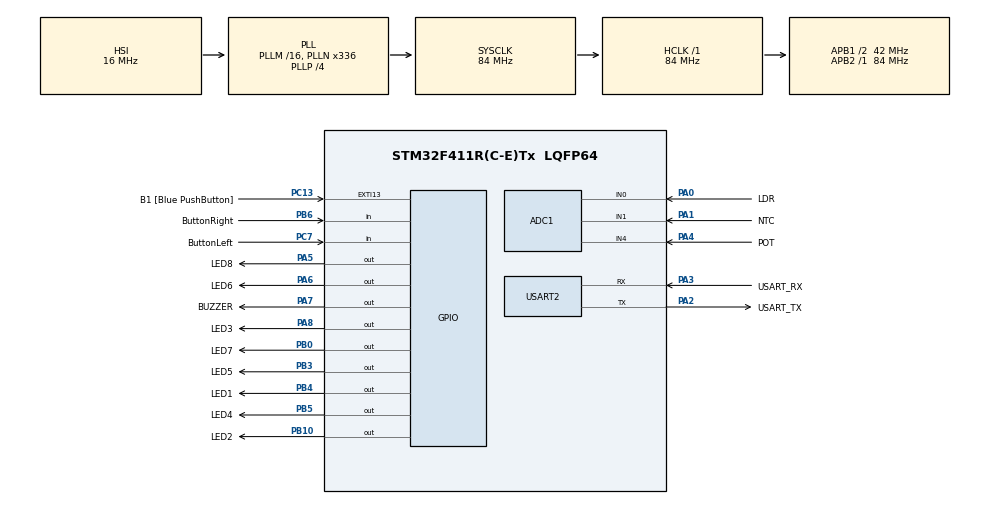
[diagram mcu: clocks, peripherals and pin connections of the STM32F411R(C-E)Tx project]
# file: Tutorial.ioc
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ADC1.Channel-0\#ChannelRegularConversion=ADC_CHANNEL_4
ADC1.NbrOfConversionFlag=1
ADC1.Rank-0\#ChannelRegularConversion=1
ADC1.SamplingTime-0\#ChannelRegularConversion=ADC_SAMPLETIME_3CYCLES
ADC1.master=1
Mcu.Family=STM32F4
Mcu.Name=STM32F411R(C-E)Tx
Mcu.Package=LQFP64
NVIC.PriorityGroup=NVIC_PRIORITYGROUP_0
PA0-WKUP.GPIO_Label=LDR
PA0-WKUP.Signal=SharedAnalog_PA0
PA1.GPIO_Label=NTC
PA1.Signal=SharedAnalog_PA1
PA13.GPIO_Label=TMS
PA13.Mode=Serial_Wire
PA13.Signal=SYS_JTMS-SWDIO
PA14.GPIO_Label=TCK
PA14.Mode=Serial_Wire
PA14.Signal=SYS_JTCK-SWCLK
PA2.GPIO_Label=USART_TX
PA2.Mode=Asynchronous
PA2.Signal=USART2_TX
PA3.GPIO_Label=USART_RX
PA3.Mode=Asynchronous
PA3.Signal=USART2_RX
PA4.GPIO_Label=POT
PA4.Signal=SharedAnalog_PA4
PA5.GPIO_Label=LED8
PA5.Signal=GPIO_Output
PA6.GPIO_Label=LED6
PA6.Signal=GPIO_Output
PA7.GPIO_Label=BUZZER
PA7.Signal=GPIO_Output
PA8.GPIO_Label=LED3
PA8.Signal=GPIO_Output
PB0.GPIO_Label=LED7
PB0.Signal=GPIO_Output
PB10.GPIO_Label=LED2
PB10.Signal=GPIO_Output
PB3.GPIO_Label=LED5
PB3.Signal=GPIO_Output
PB4.GPIO_Label=LED1
PB4.Signal=GPIO_Output
PB5.GPIO_Label=LED4
PB5.Signal=GPIO_Output
PB6.GPIO_Label=ButtonRight
PB6.GPIO_PuPd=GPIO_PULLUP
PB6.Signal=GPIO_Input
PC13-ANTI_TAMP.GPIO_Label=B1 [Blue PushButton]
PC13-ANTI_TAMP.GPIO_ModeDefaultEXTI=GPIO_MODE_IT_FALLING
PC13-ANTI_TAMP.Signal=GPXTI13
PC14-OSC32_IN.Mode=LSE-External-Oscillator
PC14-OSC32_IN.Signal=RCC_OSC32_IN
PC15-OSC32_OUT.Mode=LSE-External-Oscillator
PC15-OSC32_OUT.Signal=RCC_OSC32_OUT
PC7.GPIO_Label=ButtonLeft
PC7.GPIO_PuPd=GPIO_PULLUP
PC7.Signal=GPIO_Input
PH0\ -\ OSC_IN.Mode=HSE-External-Clock-Source
PH0\ -\ OSC_IN.Signal=RCC_OSC_IN
PH1\ -\ OSC_OUT.Mode=HSE-External-Clock-Source
PH1\ -\ OSC_OUT.Signal=RCC_OSC_OUT
ProjectManager.HeapSize=0x200
ProjectManager.StackSize=0x400
ProjectManager.TargetToolchain=CMake
RCC.48MHZClocksFreq_Value=84000000
RCC.AHBFreq_Value=84000000
RCC.APB1CLKDivider=RCC_HCLK_DIV2
RCC.APB1Freq_Value=42000000
RCC.APB1TimFreq_Value=84000000
RCC.APB2Freq_Value=84000000
RCC.APB2TimFreq_Value=84000000
RCC.CortexFreq_Value=84000000
RCC.FLatency-AdvancedSettings=FLASH_LATENCY_2
RCC.HCLKFreq_Value=84000000
RCC.HSE_VALUE=8000000
RCC.HSI_VALUE=16000000
RCC.PLLN=336
RCC.PLLP=RCC_PLLP_DIV4
RCC.SYSCLKFreq_VALUE=84000000
RCC.SYSCLKSource=RCC_SYSCLKSOURCE_PLLCLK
RCC.VCOOutputFreq_Value=336000000
SH.SharedAnalog_PA0.0=GPIO_Analog
SH.SharedAnalog_PA0.1=ADC1_IN0,IN0
SH.SharedAnalog_PA1.0=GPIO_Analog
SH.SharedAnalog_PA1.1=ADC1_IN1,IN1
SH.SharedAnalog_PA4.0=GPIO_Analog
SH.SharedAnalog_PA4.1=ADC1_IN4,IN4
USART2.VirtualMode=VM_ASYNC
board=NUCLEO-F411RE

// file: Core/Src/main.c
/* USER CODE BEGIN Header */
/**
  ******************************************************************************
  * @file           : main.c
  * @brief          : Main program body
  ******************************************************************************
  * @attention
  *
  * Copyright (c) 2026 STMicroelectronics.
  * All rights reserved.
  *
  * This software is licensed under terms that can be found in the LICENSE file
  * in the root directory of this software component.
  * If no LICENSE file comes with this software, it is provided AS-IS.
  *
  ******************************************************************************
  */
/* USER CODE END Header */
#include "main.h"

ADC_HandleTypeDef hadc1;

UART_HandleTypeDef huart2;

void SystemClock_Config(void);
static void MX_GPIO_Init(void);
static void MX_USART2_UART_Init(void);
static void MX_ADC1_Init(void);

/* USER CODE BEGIN 0 */
int _write(int file, char *ptr, int len){
  int DataIdx;
  for (DataIdx = 0; DataIdx < len; DataIdx++){
  //ITM_SendChar( *ptr++ );
  HAL_UART_Transmit(&huart2, (uint8_t*)ptr++,1,1000);
  }
  return len;
  }/* USER CODE BEGIN Header */
/**
  ******************************************************************************
  * @file           : main.c
  * @brief          : Main program body
  ******************************************************************************
  * @attention
  *
  * Copyright (c) 2026 STMicroelectronics.
  * All rights reserved.
  *
  * This software is licensed under terms that can be found in the LICENSE file
  * in the root directory of this software component.
  * If no LICENSE file comes with this software, it is provided AS-IS.
  *
  ******************************************************************************
  */
/* USER CODE END Header */
/* Includes ------------------------------------------------------------------*/
#include "main.h"
#include "stdio.h"
#include "math.h"
#include "stm32f4xx_hal.h"

#define R25   10000.0f
#define T25   298.15f
#define BETA  3900.0f
/* Private includes ----------------------------------------------------------*/
/* USER CODE BEGIN Includes */

/* USER CODE END Includes */

/* Private typedef -----------------------------------------------------------*/
/* USER CODE BEGIN PTD */

/* USER CODE END PTD */

/* Private define ------------------------------------------------------------*/
/* USER CODE BEGIN PD */

/* USER CODE END PD */

/* Private macro -------------------------------------------------------------*/
/* USER CODE BEGIN PM */

/* USER CODE END PM */

/* Private variables ---------------------------------------------------------*/

/* USER CODE BEGIN PV */

/* USER CODE END PV */

/* Private function prototypes -----------------------------------------------*/
void SystemClock_Config(void);
static void MX_GPIO_Init(void);
static void MX_USART2_UART_Init(void);
/* USER CODE BEGIN PFP */

/* USER CODE END PFP */

/* Private user code ---------------------------------------------------------*/
/* USER CODE BEGIN 0 */

  static int contadorLeft = 0;
  static int contadorRight = 0;
  static int pulsado = 0;
  static int pulsadoLeft = 0;
  static int valorAlarma = 8;
  static int valorActual = 0;

  static int led_encendido=0;
  static int sensor = 0;
  static int alarma_activa = 0;
  static int alarma_armada = 1;
  static uint32_t alarma_stop_time = 0;
  /*static int contadorBinario = 0;

  int binarioLED()
  {
    return 0;

  }*/

  int detectar_pulsacionLeft(GPIO_TypeDef* GPIOx, uint16_t GPIO_Pin)
  {
    static int estado_ant = 0;
    GPIO_PinState res_pin = HAL_GPIO_ReadPin(GPIOx,GPIO_Pin);
    int res = (res_pin == GPIO_PIN_RESET) ? 0 : 1;
    //int pulsado = 0;
    if((res == 0) && (estado_ant == 0))
    {
      estado_ant = 1;
      printf("IZQ Soltado Arriba");
      sensor++;
        if(sensor > 1)
        {
          sensor = 0;
        }
        printf("SENSORR %d\n",sensor);
    }
    if((res == 1) && (estado_ant == 1))
    {
      pulsado = 1;
      estado_ant = 0;
      printf("IZQ Pulsado Abajo");
      contadorLeft++;
    }
    if (contadorLeft == 3)
    {
      contadorLeft = 0;
      return 1;
    }else{
    return 0;}
  }

  int valorPOT()
  {
      ADC_ChannelConfTypeDef sConfig = {0};
      sConfig.Channel = ADC_CHANNEL_4;
      sConfig.Rank = 1;
      sConfig.SamplingTime = ADC_SAMPLETIME_3CYCLES;
      HAL_ADC_ConfigChannel(&hadc1, &sConfig);
      // Disparo la conversion
      HAL_ADC_Start(&hadc1);
      // Espero la finalización
      HAL_ADC_PollForConversion(&hadc1, 10000);
      // Leo el valor de la conversión 1023 y 0
      return (HAL_ADC_GetValue(&hadc1)+ 10)*8/4095;
  }

  int valorLDR()
  {
     ADC_ChannelConfTypeDef sConfig = {0};
     sConfig.Channel = ADC_CHANNEL_0;
     sConfig.Rank = 1;
      sConfig.SamplingTime = ADC_SAMPLETIME_3CYCLES;
      HAL_ADC_ConfigChannel(&hadc1, &sConfig);
      // Disparo la conversion
      HAL_ADC_Start(&hadc1);
      // Espero la finalización
      HAL_ADC_PollForConversion(&hadc1, 10000);
      printf("SENSOR LUZ: %d\n",(HAL_ADC_GetValue(&hadc1)-200)*8/2300);//valores LUZ MOVIL: 210-250, LUZ NORMAL CLASE: 770-900 TAPANDO DEDO: 1000-1200 TAPANDO CON MANOS: 1700-2000 BAJO MESA: 3000
      return ((HAL_ADC_GetValue(&hadc1)-200)*8/2300);
  }

  int valorNTC()
  {
    ADC_ChannelConfTypeDef sConfig = {0};
    sConfig.Channel = ADC_CHANNEL_1;
    sConfig.Rank = 1;
    sConfig.SamplingTime = ADC_SAMPLETIME_3CYCLES;
    HAL_ADC_ConfigChannel(&hadc1, &sConfig);

     // Disparo la conversion
      HAL_ADC_Start(&hadc1);
      // Espero la finalización
      HAL_ADC_PollForConversion(&hadc1, 10000);
      printf("SENSOR TERMICO: %d\n",(HAL_ADC_GetValue(&hadc1)-1500)/67);
      return (8-(HAL_ADC_GetValue(&hadc1)-1500)/67);
  }

  void encenderLucesPot(int x)
  {
    if (x >= 1) HAL_GPIO_WritePin(LED1_GPIO_Port, LED1_Pin, GPIO_PIN_SET);
    if (x >= 2) HAL_GPIO_WritePin(LED2_GPIO_Port, LED2_Pin, GPIO_PIN_SET);
    if (x >= 3) HAL_GPIO_WritePin(LED3_GPIO_Port, LED3_Pin, GPIO_PIN_SET);
    if (x >= 4) HAL_GPIO_WritePin(LED4_GPIO_Port, LED4_Pin, GPIO_PIN_SET);
    if (x >= 5) HAL_GPIO_WritePin(LED5_GPIO_Port, LED5_Pin, GPIO_PIN_SET);
    if (x >= 6) HAL_GPIO_WritePin(LED6_GPIO_Port, LED6_Pin, GPIO_PIN_SET);
    if (x >= 7) HAL_GPIO_WritePin(LED7_GPIO_Port, LED7_Pin, GPIO_PIN_SET);
    if (x >= 8) HAL_GPIO_WritePin(LED8_GPIO_Port, LED8_Pin, GPIO_PIN_SET);

    if (x < 1) HAL_GPIO_WritePin(LED1_GPIO_Port, LED1_Pin, GPIO_PIN_RESET);
    if (x < 2) HAL_GPIO_WritePin(LED2_GPIO_Port, LED2_Pin, GPIO_PIN_RESET);
    if (x < 3) HAL_GPIO_WritePin(LED3_GPIO_Port, LED3_Pin, GPIO_PIN_RESET);
    if (x < 4) HAL_GPIO_WritePin(LED4_GPIO_Port, LED4_Pin, GPIO_PIN_RESET);
    if (x < 5) HAL_GPIO_WritePin(LED5_GPIO_Port, LED5_Pin, GPIO_PIN_RESET);
    if (x < 6) HAL_GPIO_WritePin(LED6_GPIO_Port, LED6_Pin, GPIO_PIN_RESET);
    if (x < 7) HAL_GPIO_WritePin(LED7_GPIO_Port, LED7_Pin, GPIO_PIN_RESET);
    if (x < 8) HAL_GPIO_WritePin(LED8_GPIO_Port, LED8_Pin, GPIO_PIN_RESET);
  }

  // Enciende o apaga el LED numero n (1-8) que lo gastamos para nivel potenciometro
  void set_led_n(int n, int state)
  {
    GPIO_PinState ps = state ? GPIO_PIN_SET : GPIO_PIN_RESET;
    switch(n) {
      case 1: HAL_GPIO_WritePin(LED1_GPIO_Port, LED1_Pin, ps); break;
      case 2: HAL_GPIO_WritePin(LED2_GPIO_Port, LED2_Pin, ps); break;
      case 3: HAL_GPIO_WritePin(LED3_GPIO_Port, LED3_Pin, ps); break;
      case 4: HAL_GPIO_WritePin(LED4_GPIO_Port, LED4_Pin, ps); break;
      case 5: HAL_GPIO_WritePin(LED5_GPIO_Port, LED5_Pin, ps); break;
      case 6: HAL_GPIO_WritePin(LED6_GPIO_Port, LED6_Pin, ps); break;
      case 7: HAL_GPIO_WritePin(LED7_GPIO_Port, LED7_Pin, ps); break;
      case 8: HAL_GPIO_WritePin(LED8_GPIO_Port, LED8_Pin, ps); break;
    }
  }

  // Devuelve 1 en el flanco de bajada del boton (pulsacion detectada)
  int detectar_pulsacionRight(GPIO_TypeDef* GPIOx, uint16_t GPIO_Pin)
  {
    static int estado_ant = 1;  // 1 = no pulsado (pull-up)
    GPIO_PinState res_pin = HAL_GPIO_ReadPin(GPIOx, GPIO_Pin);
    int res = (res_pin == GPIO_PIN_RESET) ? 0 : 1;
    if ((res == 0) && (estado_ant == 1)) {  // flanco bajada: boton pulsado
      estado_ant = 0;
      return 1;
    }
    if ((res == 1) && (estado_ant == 0)) {  // flanco subida: boton soltado
      estado_ant = 1;
    }
    return 0;
  }

/* USER CODE END 0 */

int main(void)
{

  /* MCU Configuration--------------------------------------------------------*/

  /* Reset of all peripherals, Initializes the Flash interface and the Systick. */
  HAL_Init();

  /* Configure the system clock */
  SystemClock_Config();

  /* Initialize all configured peripherals */
  MX_GPIO_Init();
  MX_USART2_UART_Init();
  MX_ADC1_Init();

  /* Infinite loop */
  /* USER CODE BEGIN WHILE */
  setvbuf(stdout, NULL, _IONBF, 0);

  HAL_GPIO_WritePin(LED1_GPIO_Port, LED1_Pin, GPIO_PIN_RESET);
  HAL_GPIO_WritePin(LED2_GPIO_Port, LED2_Pin, GPIO_PIN_RESET);
  HAL_GPIO_WritePin(LED3_GPIO_Port, LED3_Pin, GPIO_PIN_RESET);
  HAL_GPIO_WritePin(LED4_GPIO_Port, LED4_Pin, GPIO_PIN_RESET);
  HAL_GPIO_WritePin(LED5_GPIO_Port, LED5_Pin, GPIO_PIN_RESET);
  HAL_GPIO_WritePin(LED6_GPIO_Port, LED6_Pin, GPIO_PIN_RESET);
  HAL_GPIO_WritePin(LED7_GPIO_Port, LED7_Pin, GPIO_PIN_RESET);
  HAL_GPIO_WritePin(LED8_GPIO_Port, LED8_Pin, GPIO_PIN_RESET);

  while (1)
  {
    valorAlarma = valorPOT();
    printf("%d",valorAlarma);
    // Leer sensor seleccionado y mostrar en LEDs
    if (sensor == 0) {
      valorActual = valorNTC();
    } else if (sensor == 1) {
      valorActual = valorLDR();
    } else {
      sensor = 0;
    }
    encenderLucesPot(valorActual);

    // LED del nivel de alarma parpadea a ~10 Hz (toggle cada 50ms)
    if (valorAlarma >= 1 && valorAlarma <= 8) {
      int led_alarma_estado = (HAL_GetTick() / 50) % 2;
      set_led_n(valorAlarma, led_alarma_estado);
    }

    // Rearme automatico tras 10 segundos
    if (!alarma_armada && (HAL_GetTick() - alarma_stop_time > 10000)) {
      alarma_armada = 1;
      printf("alarma rearmada\n");
    }
    // Disparo de alarma si esta armada y se supera el nivel
    if (alarma_armada && valorActual >= valorAlarma) {
      alarma_activa = 1;
    }
    // Control del buzzer segun estado de alarma
    if (alarma_activa) {
      HAL_GPIO_WritePin(BUZZER_GPIO_Port, BUZZER_Pin, GPIO_PIN_SET);
      printf("pitoo\n");
    } else {
      HAL_GPIO_WritePin(BUZZER_GPIO_Port, BUZZER_Pin, GPIO_PIN_RESET);
    }

    HAL_Delay(50);

    // Boton izquierdo: cambia sensor mostrado
    detectar_pulsacionLeft(ButtonLeft_GPIO_Port, ButtonLeft_Pin);

    // Boton derecho: para la alarma (si esta activa)
    if (detectar_pulsacionRight(ButtonRight_GPIO_Port, ButtonRight_Pin) == 1) {
      if (alarma_activa) {
        alarma_activa = 0;
        alarma_armada = 0;
        alarma_stop_time = HAL_GetTick();
        HAL_GPIO_WritePin(BUZZER_GPIO_Port, BUZZER_Pin, GPIO_PIN_RESET);
        printf("alarma parada por boton, rearmando en 10s\n");
      }
    }

    HAL_Delay(50);
    /* USER CODE END WHILE */

  }
}

void SystemClock_Config(void)
{
  RCC_OscInitTypeDef RCC_OscInitStruct = {0};
  RCC_ClkInitTypeDef RCC_ClkInitStruct = {0};

  /** Configure the main internal regulator output voltage
  */
  __HAL_RCC_PWR_CLK_ENABLE();
  __HAL_PWR_VOLTAGESCALING_CONFIG(PWR_REGULATOR_VOLTAGE_SCALE1);

  /** Initializes the RCC Oscillators according to the specified parameters
  * in the RCC_OscInitTypeDef structure.
  */
  RCC_OscInitStruct.OscillatorType = RCC_OSCILLATORTYPE_HSI;
  RCC_OscInitStruct.HSIState = RCC_HSI_ON;
  RCC_OscInitStruct.HSICalibrationValue = RCC_HSICALIBRATION_DEFAULT;
  RCC_OscInitStruct.PLL.PLLState = RCC_PLL_ON;
  RCC_OscInitStruct.PLL.PLLSource = RCC_PLLSOURCE_HSI;
  RCC_OscInitStruct.PLL.PLLM = 16;
  RCC_OscInitStruct.PLL.PLLN = 336;
  RCC_OscInitStruct.PLL.PLLP = RCC_PLLP_DIV4;
  RCC_OscInitStruct.PLL.PLLQ = 4;
  if (HAL_RCC_OscConfig(&RCC_OscInitStruct) != HAL_OK)
  {
    Error_Handler();
  }

  /** Initializes the CPU, AHB and APB buses clocks
  */
  RCC_ClkInitStruct.ClockType = RCC_CLOCKTYPE_HCLK|RCC_CLOCKTYPE_SYSCLK
                              |RCC_CLOCKTYPE_PCLK1|RCC_CLOCKTYPE_PCLK2;
  RCC_ClkInitStruct.SYSCLKSource = RCC_SYSCLKSOURCE_PLLCLK;
  RCC_ClkInitStruct.AHBCLKDivider = RCC_SYSCLK_DIV1;
  RCC_ClkInitStruct.APB1CLKDivider = RCC_HCLK_DIV2;
  RCC_ClkInitStruct.APB2CLKDivider = RCC_HCLK_DIV1;

  if (HAL_RCC_ClockConfig(&RCC_ClkInitStruct, FLASH_LATENCY_2) != HAL_OK)
  {
    Error_Handler();
  }
}

static void MX_ADC1_Init(void)
{

  ADC_ChannelConfTypeDef sConfig = {0};

  /** Configure the global features of the ADC (Clock, Resolution, Data Alignment and number of conversion)
  */
  hadc1.Instance = ADC1;
  hadc1.Init.ClockPrescaler = ADC_CLOCK_SYNC_PCLK_DIV4;
  hadc1.Init.Resolution = ADC_RESOLUTION_12B;
  hadc1.Init.ScanConvMode = DISABLE;
  hadc1.Init.ContinuousConvMode = DISABLE;
  hadc1.Init.DiscontinuousConvMode = DISABLE;
  hadc1.Init.ExternalTrigConvEdge = ADC_EXTERNALTRIGCONVEDGE_NONE;
  hadc1.Init.ExternalTrigConv = ADC_SOFTWARE_START;
  hadc1.Init.DataAlign = ADC_DATAALIGN_RIGHT;
  hadc1.Init.NbrOfConversion = 1;
  hadc1.Init.DMAContinuousRequests = DISABLE;
  hadc1.Init.EOCSelection = ADC_EOC_SINGLE_CONV;
  if (HAL_ADC_Init(&hadc1) != HAL_OK)
  {
    Error_Handler();
  }

  /** Configure for the selected ADC regular channel its corresponding rank in the sequencer and its sample time.
  */
  sConfig.Channel = ADC_CHANNEL_4;
  sConfig.Rank = 1;
  sConfig.SamplingTime = ADC_SAMPLETIME_3CYCLES;
  if (HAL_ADC_ConfigChannel(&hadc1, &sConfig) != HAL_OK)
  {
    Error_Handler();
  }

}

static void MX_USART2_UART_Init(void)
{

  huart2.Instance = USART2;
  huart2.Init.BaudRate = 115200;
  huart2.Init.WordLength = UART_WORDLENGTH_8B;
  huart2.Init.StopBits = UART_STOPBITS_1;
  huart2.Init.Parity = UART_PARITY_NONE;
  huart2.Init.Mode = UART_MODE_TX_RX;
  huart2.Init.HwFlowCtl = UART_HWCONTROL_NONE;
  huart2.Init.OverSampling = UART_OVERSAMPLING_16;
  if (HAL_UART_Init(&huart2) != HAL_OK)
  {
    Error_Handler();
  }

}

static void MX_GPIO_Init(void)
{
  GPIO_InitTypeDef GPIO_InitStruct = {0};

  /* GPIO Ports Clock Enable */
  __HAL_RCC_GPIOC_CLK_ENABLE();
  __HAL_RCC_GPIOH_CLK_ENABLE();
  __HAL_RCC_GPIOA_CLK_ENABLE();
  __HAL_RCC_GPIOB_CLK_ENABLE();

  /*Configure GPIO pin Output Level */
  HAL_GPIO_WritePin(GPIOA, LED8_Pin|LED6_Pin|BUZZER_Pin|LED3_Pin, GPIO_PIN_RESET);

  /*Configure GPIO pin Output Level */
  HAL_GPIO_WritePin(GPIOB, LED7_Pin|LED2_Pin|LED5_Pin|LED1_Pin
                          |LED4_Pin, GPIO_PIN_RESET);

  /*Configure GPIO pin : B1_Pin */
  GPIO_InitStruct.Pin = B1_Pin;
  GPIO_InitStruct.Mode = GPIO_MODE_IT_FALLING;
  GPIO_InitStruct.Pull = GPIO_NOPULL;
  HAL_GPIO_Init(B1_GPIO_Port, &GPIO_InitStruct);

  /*Configure GPIO pins : LED8_Pin LED6_Pin BUZZER_Pin LED3_Pin */
  GPIO_InitStruct.Pin = LED8_Pin|LED6_Pin|BUZZER_Pin|LED3_Pin;
  GPIO_InitStruct.Mode = GPIO_MODE_OUTPUT_PP;
  GPIO_InitStruct.Pull = GPIO_NOPULL;
  GPIO_InitStruct.Speed = GPIO_SPEED_FREQ_LOW;
  HAL_GPIO_Init(GPIOA, &GPIO_InitStruct);

  /*Configure GPIO pins : LED7_Pin LED2_Pin LED5_Pin LED1_Pin
                           LED4_Pin */
  GPIO_InitStruct.Pin = LED7_Pin|LED2_Pin|LED5_Pin|LED1_Pin
                          |LED4_Pin;
  GPIO_InitStruct.Mode = GPIO_MODE_OUTPUT_PP;
  GPIO_InitStruct.Pull = GPIO_NOPULL;
  GPIO_InitStruct.Speed = GPIO_SPEED_FREQ_LOW;
  HAL_GPIO_Init(GPIOB, &GPIO_InitStruct);

  /*Configure GPIO pin : ButtonLeft_Pin */
  GPIO_InitStruct.Pin = ButtonLeft_Pin;
  GPIO_InitStruct.Mode = GPIO_MODE_INPUT;
  GPIO_InitStruct.Pull = GPIO_PULLUP;
  HAL_GPIO_Init(ButtonLeft_GPIO_Port, &GPIO_InitStruct);

  /*Configure GPIO pin : ButtonRight_Pin */
  GPIO_InitStruct.Pin = ButtonRight_Pin;
  GPIO_InitStruct.Mode = GPIO_MODE_INPUT;
  GPIO_InitStruct.Pull = GPIO_PULLUP;
  HAL_GPIO_Init(ButtonRight_GPIO_Port, &GPIO_InitStruct);

}

void Error_Handler(void)
{
  __disable_irq();
  while (1)
  {
  }
}
